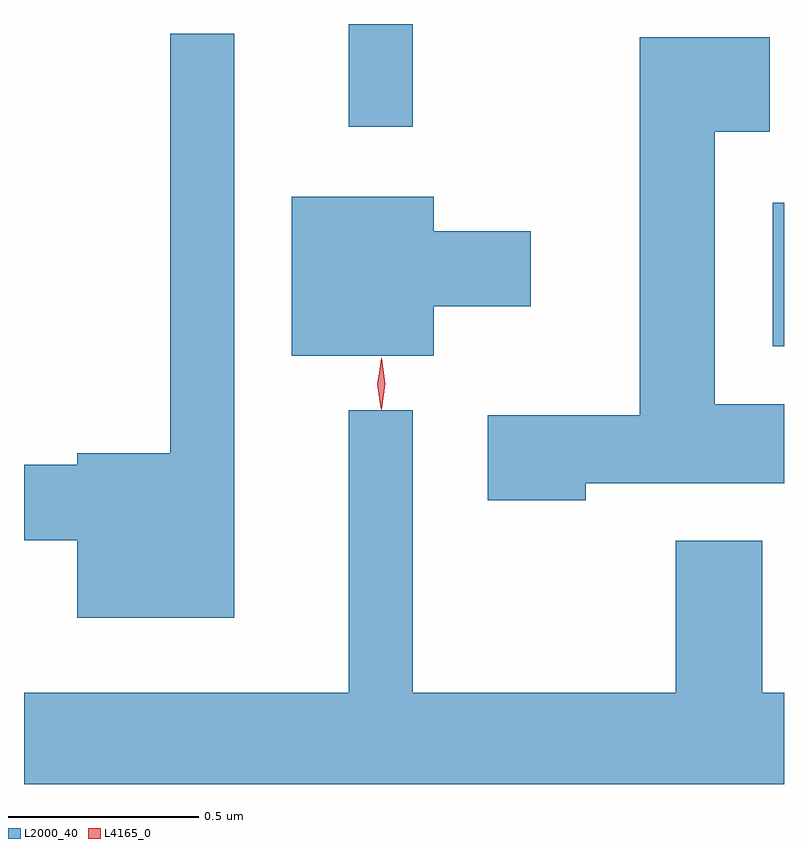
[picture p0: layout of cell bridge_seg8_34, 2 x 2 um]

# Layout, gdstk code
import gdstk
lib = gdstk.Library(unit=1e-6, precision=1e-09)
def R(c, l, rs):  # rectangles x0, y0, x1, y1
    for r in rs: c.add(gdstk.rectangle(r[:2], r[2:], *l))
def P(c, l, *ps):  # polygons
    for p in ps: c.add(gdstk.Polygon(p, *l))
L2000_40 = (2000, 40)
L4165_0 = (4165, 0)

bridge_seg8_34 = lib.new_cell('bridge_seg8_34')
R(bridge_seg8_34, L2000_40, [(1489.926,1937.496,1489.956,1937.874), (1488.811,1938.073,1488.979,1938.344)])
P(bridge_seg8_34, L2000_40, [(1488.509,1938.318),(1488.341,1938.318),(1488.341,1937.214),(1488.096,1937.214),(1488.096,1937.184),(1487.956,1937.184),(1487.956,1936.986),(1488.096,1936.986),(1488.096,1936.781),(1488.509,1936.781)],
  [(1489.434,1937.136),(1489.956,1937.136),(1489.956,1937.344),(1489.774,1937.344),(1489.774,1938.061),(1489.919,1938.061),(1489.919,1938.309),(1489.576,1938.309),(1489.576,1937.314),(1489.176,1937.314),(1489.176,1937.091),(1489.434,1937.091)],
  [(1489.034,1937.601),(1489.289,1937.601),(1489.289,1937.799),(1489.034,1937.799),(1489.034,1937.889),(1488.661,1937.889),(1488.661,1937.471),(1489.034,1937.471)],
  [(1489.956,1936.584),(1489.899,1936.584),(1489.899,1936.984),(1489.671,1936.984),(1489.671,1936.584),(1488.979,1936.584),(1488.979,1937.328),(1488.811,1937.328),(1488.811,1936.584),(1487.956,1936.584),(1487.956,1936.344),(1489.956,1936.344)])
P(bridge_seg8_34, L4165_0, [(1488.895,1937.333),(1488.895,1937.333),(1488.886,1937.397),(1488.897,1937.46),(1488.897,1937.46),(1488.898,1937.46),(1488.906,1937.396),(1488.896,1937.333)],
  [(1488.897,1937.329),(1488.896,1937.33),(1488.887,1937.397),(1488.896,1937.465),(1488.897,1937.466),(1488.897,1937.465),(1488.907,1937.397),(1488.897,1937.33)])

lib.write_gds('bridge_seg8_34.gds')
